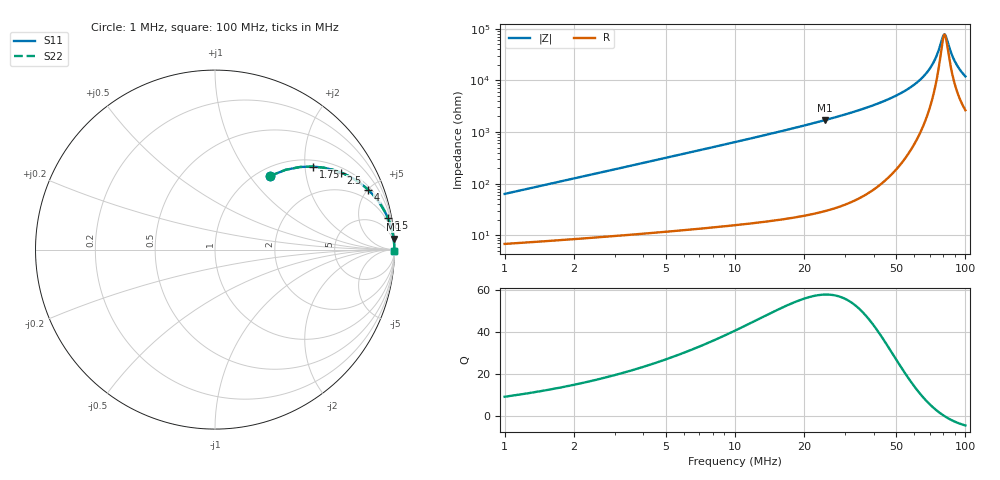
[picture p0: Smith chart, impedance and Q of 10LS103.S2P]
! Coilcraft 1008LS-103 Chip Inductor
! 5 August 2002
# MHZ S MA R 50
!Freq  MagS11  AngS11  MagS21  AngS21  MagS12  AngS12  MagS22  AngS22
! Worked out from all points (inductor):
!   397 points, 1 MHz to 100 MHz, reference 50 ohm
!   read as one part in series: L = 10 uH near 1.25 MHz
!   highest Q = 57.9 at 24.5 MHz (marker M1), where L = 11 uH
!   self-resonance near 81.25 MHz
!   S11 on the Smith chart (normalised r, x): 1 MHz: 1.14, +1.26; 1.75 MHz: 1.16, +2.20; 2.5 MHz: 1.18, +3.14; 4 MHz: 1.21, +5.04; 8.5 MHz: 1, +11; 100 MHz: open
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1  0.5101 53.4  0.807 -30.5  0.807 -30.5  0.5101 53.4
1.75  0.7153 40.3  0.6485 -45.5  0.6485 -45.5  0.7153 40.3
2.5  0.823 31.4  0.5226 -55.3  0.5226 -55.3  0.823 31.4
4  0.9163 21.3  0.3634 -66.3  0.3634 -66.3  0.9163 21.3
5.75  0.9559 15.2  0.2631 -72.8  0.2631 -72.8  0.9559 15.2
8.5  0.9786 10.4  0.1812 -78.0  0.1812 -78.0  0.9786 10.4
12.5  0.9897 7.1  0.123 -81.7  0.123 -81.7  0.9897 7.1
17.5  0.9947 4.9  0.08624 -84.0  0.08624 -84.0  0.9947 4.9
24.5  0.9973 3.4  0.05887 -85.6  0.05887 -85.6  0.9973 3.4
34  0.9985 2.2  0.03853 -86.7  0.03853 -86.7  0.9985 2.2
50.5  0.9991 1.1  0.01931 -86.7  0.01931 -86.7  0.9991 1.1
60  0.9991 0.7  0.01206 -85.3  0.01206 -85.3  0.9991 0.7
67  0.999 0.4  0.007637 -82.3  0.007637 -82.3  0.999 0.4
70.75  0.9989 0.3  0.005518 -78.8  0.005518 -78.8  0.9989 0.3
74  0.9989 0.2  0.003818 -72.9  0.003818 -72.9  0.9989 0.2
80.5  0.9987 0.0  0.001319 -15.9  0.001319 -15.9  0.9987 0.0
81.75  0.9987 -0.0  0.001322 10.4  0.001322 10.4  0.9987 -0.0
83.5  0.9987 -0.1  0.001716 38.2  0.001716 38.2  0.9987 -0.1
86.75  0.9986 -0.1  0.002929 60.5  0.002929 60.5  0.9986 -0.1
90.25  0.9985 -0.2  0.004376 69.2  0.004376 69.2  0.9985 -0.2
94.5  0.9983 -0.3  0.006132 73.9  0.006132 73.9  0.9983 -0.3
100  0.9981 -0.5  0.008339 76.8  0.008339 76.8  0.9981 -0.5
